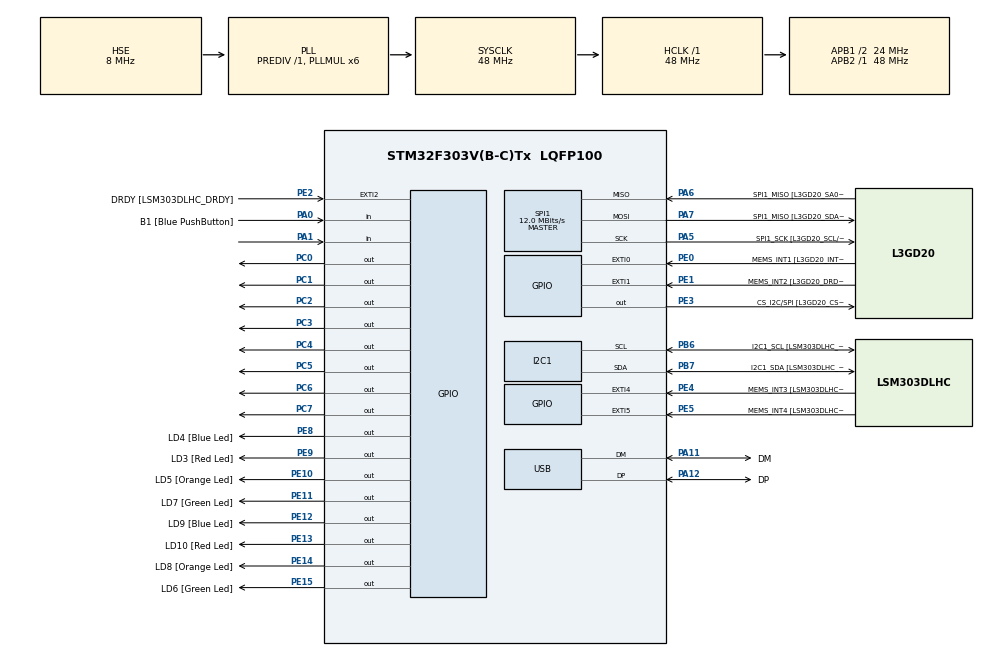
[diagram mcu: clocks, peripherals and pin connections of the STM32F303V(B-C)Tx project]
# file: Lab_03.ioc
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I2C1.Timing=0x2000090E
I2C1.Timing-I2C=0x2000090E
Mcu.Family=STM32F3
Mcu.Name=STM32F303V(B-C)Tx
Mcu.Package=LQFP100
NVIC.PriorityGroup=NVIC_PRIORITYGROUP_0
PA0.GPIO_Label=B1 [Blue PushButton]
PA0.Signal=GPIO_Input
PA1.GPIO_PuPd=GPIO_PULLDOWN
PA1.Signal=GPIO_Input
PA11.GPIO_Label=DM
PA11.Mode=Device
PA11.Signal=USB_DM
PA12.GPIO_Label=DP
PA12.Mode=Device
PA12.Signal=USB_DP
PA13.GPIO_Label=SWDIO
PA13.Mode=Serial_Wire
PA13.Signal=SYS_JTMS-SWDIO
PA14.GPIO_Label=SWCLK
PA14.Mode=Serial_Wire
PA14.Signal=SYS_JTCK-SWCLK
PA5.GPIO_Label=SPI1_SCK [L3GD20_SCL/SPC]
PA5.Mode=Full_Duplex_Master
PA5.Signal=SPI1_SCK
PA6.GPIO_Label=SPI1_MISO [L3GD20_SA0/SDO]
PA6.Mode=Full_Duplex_Master
PA6.Signal=SPI1_MISO
PA7.GPIO_Label=SPI1_MISO [L3GD20_SDA/SDI/SDO]
PA7.Mode=Full_Duplex_Master
PA7.Signal=SPI1_MOSI
PB3.GPIO_Label=SWO
PB3.Signal=SYS_JTDO-TRACESWO
PB6.GPIO_Label=I2C1_SCL [LSM303DLHC_SCL]
PB6.GPIO_Pu=GPIO_PULLUP
PB6.Mode=I2C
PB6.Signal=I2C1_SCL
PB7.GPIO_Label=I2C1_SDA [LSM303DLHC_SDA]
PB7.GPIO_Pu=GPIO_PULLUP
PB7.Mode=I2C
PB7.Signal=I2C1_SDA
PC0.Signal=GPIO_Output
PC1.Signal=GPIO_Output
PC14-OSC32_IN.GPIO_Label=OSC32_IN
PC14-OSC32_IN.Signal=RCC_OSC32_IN
PC15-OSC32_OUT.GPIO_Label=OSC32_OUT
PC15-OSC32_OUT.Signal=RCC_OSC32_OUT
PC2.Signal=GPIO_Output
PC3.Signal=GPIO_Output
PC4.Signal=GPIO_Output
PC5.Signal=GPIO_Output
PC6.Signal=GPIO_Output
PC7.Signal=GPIO_Output
PE0.GPIO_Label=MEMS_INT1 [L3GD20_INT1]
PE0.GPIO_ModeDefaultEXTI=GPIO_MODE_EVT_RISING
PE0.Signal=GPXTI0
PE1.GPIO_Label=MEMS_INT2 [L3GD20_DRDY/INT2]
PE1.GPIO_ModeDefaultEXTI=GPIO_MODE_EVT_RISING
PE1.Signal=GPXTI1
PE10.GPIO_Label=LD5 [Orange Led]
PE10.Signal=GPIO_Output
PE11.GPIO_Label=LD7 [Green Led]
PE11.Signal=GPIO_Output
PE12.GPIO_Label=LD9 [Blue Led]
PE12.Signal=GPIO_Output
PE13.GPIO_Label=LD10 [Red Led]
PE13.Signal=GPIO_Output
PE14.GPIO_Label=LD8 [Orange Led]
PE14.Signal=GPIO_Output
PE15.GPIO_Label=LD6 [Green Led]
PE15.Signal=GPIO_Output
PE2.GPIO_Label=DRDY [LSM303DLHC_DRDY]
PE2.GPIO_ModeDefaultEXTI=GPIO_MODE_EVT_RISING
PE2.Signal=GPXTI2
PE3.GPIO_Label=CS_I2C/SPI [L3GD20_CS_I2C/SPI]
PE3.Signal=GPIO_Output
PE4.GPIO_Label=MEMS_INT3 [LSM303DLHC_INT1]
PE4.GPIO_ModeDefaultEXTI=GPIO_MODE_EVT_RISING
PE4.Signal=GPXTI4
PE5.GPIO_Label=MEMS_INT4 [LSM303DLHC_INT2]
PE5.GPIO_ModeDefaultEXTI=GPIO_MODE_EVT_RISING
PE5.Signal=GPXTI5
PE8.GPIO_Label=LD4 [Blue Led]
PE8.Signal=GPIO_Output
PE9.GPIO_Label=LD3 [Red Led]
PE9.Signal=GPIO_Output
PF0-OSC_IN.GPIO_Label=OSC_IN
PF0-OSC_IN.Mode=HSE-External-Clock-Source
PF0-OSC_IN.Signal=RCC_OSC_IN
PF1-OSC_OUT.GPIO_Label=OSC_OUT
PF1-OSC_OUT.Signal=RCC_OSC_OUT
ProjectManager.HeapSize=0x200
ProjectManager.StackSize=0x400
ProjectManager.TargetToolchain=CMake
RCC.AHBFreq_Value=48000000
RCC.APB1CLKDivider=RCC_HCLK_DIV2
RCC.APB1Freq_Value=24000000
RCC.APB1TimFreq_Value=48000000
RCC.APB2Freq_Value=48000000
RCC.APB2TimFreq_Value=48000000
RCC.CortexFreq_Value=48000000
RCC.HCLKFreq_Value=48000000
RCC.HSE_VALUE=8000000
RCC.HSI_VALUE=8000000
RCC.LSE_VALUE=32768
RCC.PLLMUL=RCC_PLL_MUL6
RCC.SYSCLKFreq_VALUE=48000000
RCC.SYSCLKSourceVirtual=RCC_SYSCLKSOURCE_PLLCLK
RCC.USBFreq_Value=48000000
SPI1.BaudRatePrescaler=SPI_BAUDRATEPRESCALER_4
SPI1.BaudRatePrescaler-Full_Duplex_Master=SPI_BAUDRATEPRESCALER_2
SPI1.CalculateBaudRate=12.0 MBits/s
SPI1.CalculateBaudRate-Full_Duplex_Master=24.0 MBits/s
SPI1.Direction=SPI_DIRECTION_2LINES
SPI1.Mode=SPI_MODE_MASTER
SPI1.Mode-Full_Duplex_Master=SPI_MODE_MASTER
SPI1.VirtualType=VM_MASTER
board=STM32F3DISCOVERY

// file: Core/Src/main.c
/* USER CODE BEGIN Header */
/**
  ******************************************************************************
  * @file           : main.c
  * @brief          : Main program body
  ******************************************************************************
  * @attention
  *
  * Copyright (c) 2026 STMicroelectronics.
  * All rights reserved.
  *
  * This software is licensed under terms that can be found in the LICENSE file
  * in the root directory of this software component.
  * If no LICENSE file comes with this software, it is provided AS-IS.
  *
  ******************************************************************************
  */
/* USER CODE END Header */
#include "main.h"
#include "stdlib.h"

I2C_HandleTypeDef hi2c1;

SPI_HandleTypeDef hspi1;

PCD_HandleTypeDef hpcd_USB_FS;

/* USER CODE BEGIN PV */
/* USER CODE BEGIN PV */
// Common Anode lookup table for digits 0-9 (0 = ON, 1 = OFF)
// Bit order: 0b0GFEDCBA
/* USER CODE BEGIN PV */
const uint8_t hex_patterns[16] = {
    0x40, // 0: A B C D E F
    0x79, // 1: B C
    0x24, // 2: A B D E G
    0x30, // 3: A B C D G
    0x19, // 4: B C F G
    0x12, // 5: A C D F G
    0x02, // 6: A C D E F G
    0x78, // 7: A B C
    0x00, // 8: All ON
    0x10, // 9: A B C D F G
    0x08, // A: A B C E F G
    0x03, // b: C D E F G
    0x46, // C: A D E F
    0x21, // d: B C D E G
    0x06, // E: A D E F G
    0x0E  // F: A E F G (index 15)
};
// const uint8_t student_id[5] = {1, 0, 3, 4, 1};
/* USER CODE END PV */

void SystemClock_Config(void);
static void MX_GPIO_Init(void);
static void MX_I2C1_Init(void);
static void MX_SPI1_Init(void);
static void MX_USB_PCD_Init(void);

/* USER CODE BEGIN 0 */
/* USER CODE BEGIN 0 */
/* USER CODE BEGIN 0 */
void display_pattern(uint8_t pattern) {
    // Segments: A->PC0, B->PC1, C->PC2, D->PC3, E->PC4, F->PC7, G->PC6
    HAL_GPIO_WritePin(GPIOC, GPIO_PIN_0, (pattern & (1 << 0)) ? GPIO_PIN_SET : GPIO_PIN_RESET); // A
    HAL_GPIO_WritePin(GPIOC, GPIO_PIN_1, (pattern & (1 << 1)) ? GPIO_PIN_SET : GPIO_PIN_RESET); // B
    HAL_GPIO_WritePin(GPIOC, GPIO_PIN_2, (pattern & (1 << 2)) ? GPIO_PIN_SET : GPIO_PIN_RESET); // C
    HAL_GPIO_WritePin(GPIOC, GPIO_PIN_3, (pattern & (1 << 3)) ? GPIO_PIN_SET : GPIO_PIN_RESET); // D
    HAL_GPIO_WritePin(GPIOC, GPIO_PIN_4, (pattern & (1 << 4)) ? GPIO_PIN_SET : GPIO_PIN_RESET); // E
    HAL_GPIO_WritePin(GPIOC, GPIO_PIN_7, (pattern & (1 << 5)) ? GPIO_PIN_SET : GPIO_PIN_RESET); // F (Now on PC7)
    HAL_GPIO_WritePin(GPIOC, GPIO_PIN_6, (pattern & (1 << 6)) ? GPIO_PIN_SET : GPIO_PIN_RESET); // G
}
/* USER CODE END 0 */
/* USER CODE END 0 */

int main(void)
{

  /* MCU Configuration--------------------------------------------------------*/

  /* Reset of all peripherals, Initializes the Flash interface and the Systick. */
  HAL_Init();
  HAL_GPIO_WritePin(GPIOC, GPIO_PIN_5, GPIO_PIN_SET);

  /* Configure the system clock */
  SystemClock_Config();

  /* Initialize all configured peripherals */
  MX_GPIO_Init();
  MX_I2C1_Init();
  MX_SPI1_Init();
  MX_USB_PCD_Init();

  /* Infinite loop */
  /* USER CODE BEGIN WHILE */
  /* USER CODE BEGIN WHILE */
  // Task 1: Auto cycle 0 to F
  const uint8_t hex_patterns[16] = {
      0x40, 0x79, 0x24, 0x30, 0x19, 0x12, 0x02, 0x78,
      0x00, 0x10, 0x08, 0x03, 0x46, 0x21, 0x06, 0x0E
  };
  // uint8_t current_index = 0;

  // display_pattern(hex_patterns[student_id[current_index]]);

  // int8_t counter = 0; // Use a signed integer to easily handle underflow

  // Display initial counter value (0)
  // display_pattern(hex_patterns[counter]);
  display_pattern(hex_patterns[0]);

  /* USER CODE BEGIN WHILE */
  while (1)
  {

    /* USER CODE END WHILE */

    /* USER CODE BEGIN 3 */
    // for (int i = 0; i < 16; i++) // Must be i < 16 so index 15 (F) executes
    // {
    //     display_pattern(hex_patterns[i]);
    //     HAL_Delay(1000);
    // }

    //TASK 2:

    // if (HAL_GPIO_ReadPin(GPIOA, GPIO_PIN_0) == GPIO_PIN_SET)
    // {
    //     HAL_Delay(50); // 50ms delay for debouncing

    //     // Confirm the button is still pressed after the delay
    //     if (HAL_GPIO_ReadPin(GPIOA, GPIO_PIN_0) == GPIO_PIN_SET)
    //     {
    //         // Increment index and wrap around back to 0 after the 5th digit
    //         current_index = (current_index + 1) % 5;

    //         // Output the new digit
    //         display_pattern(hex_patterns[student_id[current_index]]);

    //         // Trap the CPU in a loop until the button is released
    //         while (HAL_GPIO_ReadPin(GPIOA, GPIO_PIN_0) == GPIO_PIN_SET);

    //         HAL_Delay(50); // Debounce the release
    //     }
    // }

    //TASK 3:
  //   if (HAL_GPIO_ReadPin(GPIOA, GPIO_PIN_0) == GPIO_PIN_SET)
  //   {
  //       HAL_Delay(50);

  //       if (HAL_GPIO_ReadPin(GPIOA, GPIO_PIN_0) == GPIO_PIN_SET)
  //       {

  //           counter = (counter + 1) % 16;
  //           display_pattern(hex_patterns[counter]);

  //           while (HAL_GPIO_ReadPin(GPIOA, GPIO_PIN_0) == GPIO_PIN_SET);
  //           HAL_Delay(50);
  //       }
  //   }

  //   // ==========================================
  //   // DECREMENT: External Push Button (PA1)
  //   // ==========================================
  //   if (HAL_GPIO_ReadPin(GPIOA, GPIO_PIN_1) == GPIO_PIN_SET)
  //   {
  //       HAL_Delay(50); // Debounce delay

  //       if (HAL_GPIO_ReadPin(GPIOA, GPIO_PIN_1) == GPIO_PIN_SET)
  //       {
  //           // Decrement and wrap around to 15 (F) if it drops below 0
  //           if (counter == 0) {
  //               counter = 15;
  //           } else {
  //               counter--;
  //           }
  //           display_pattern(hex_patterns[counter]);

  //           // Wait for button release
  //           while (HAL_GPIO_ReadPin(GPIOA, GPIO_PIN_1) == GPIO_PIN_SET);
  //           HAL_Delay(50);
  //       }
  //   }

  // }

  // TASK 4:
  if (HAL_GPIO_ReadPin(GPIOA, GPIO_PIN_0) == GPIO_PIN_SET)
    {
        HAL_Delay(50);

        if (HAL_GPIO_ReadPin(GPIOA, GPIO_PIN_0) == GPIO_PIN_SET)
        {
            uint8_t random = (rand() % 6)+1;

            display_pattern(hex_patterns[random]);

            while (HAL_GPIO_ReadPin(GPIOA, GPIO_PIN_0) == GPIO_PIN_SET);

            HAL_Delay(50);
        }
  /* USER CODE END 3 */
      }
}
}
void SystemClock_Config(void)
{
  RCC_OscInitTypeDef RCC_OscInitStruct = {0};
  RCC_ClkInitTypeDef RCC_ClkInitStruct = {0};
  RCC_PeriphCLKInitTypeDef PeriphClkInit = {0};

  /** Initializes the RCC Oscillators according to the specified parameters
  * in the RCC_OscInitTypeDef structure.
  */
  RCC_OscInitStruct.OscillatorType = RCC_OSCILLATORTYPE_HSI|RCC_OSCILLATORTYPE_HSE;
  RCC_OscInitStruct.HSEState = RCC_HSE_BYPASS;
  RCC_OscInitStruct.HSEPredivValue = RCC_HSE_PREDIV_DIV1;
  RCC_OscInitStruct.HSIState = RCC_HSI_ON;
  RCC_OscInitStruct.HSICalibrationValue = RCC_HSICALIBRATION_DEFAULT;
  RCC_OscInitStruct.PLL.PLLState = RCC_PLL_ON;
  RCC_OscInitStruct.PLL.PLLSource = RCC_PLLSOURCE_HSE;
  RCC_OscInitStruct.PLL.PLLMUL = RCC_PLL_MUL6;
  if (HAL_RCC_OscConfig(&RCC_OscInitStruct) != HAL_OK)
  {
    Error_Handler();
  }

  /** Initializes the CPU, AHB and APB buses clocks
  */
  RCC_ClkInitStruct.ClockType = RCC_CLOCKTYPE_HCLK|RCC_CLOCKTYPE_SYSCLK
                              |RCC_CLOCKTYPE_PCLK1|RCC_CLOCKTYPE_PCLK2;
  RCC_ClkInitStruct.SYSCLKSource = RCC_SYSCLKSOURCE_PLLCLK;
  RCC_ClkInitStruct.AHBCLKDivider = RCC_SYSCLK_DIV1;
  RCC_ClkInitStruct.APB1CLKDivider = RCC_HCLK_DIV2;
  RCC_ClkInitStruct.APB2CLKDivider = RCC_HCLK_DIV1;

  if (HAL_RCC_ClockConfig(&RCC_ClkInitStruct, FLASH_LATENCY_1) != HAL_OK)
  {
    Error_Handler();
  }
  PeriphClkInit.PeriphClockSelection = RCC_PERIPHCLK_USB|RCC_PERIPHCLK_I2C1;
  PeriphClkInit.I2c1ClockSelection = RCC_I2C1CLKSOURCE_HSI;
  PeriphClkInit.USBClockSelection = RCC_USBCLKSOURCE_PLL;
  if (HAL_RCCEx_PeriphCLKConfig(&PeriphClkInit) != HAL_OK)
  {
    Error_Handler();
  }
}

static void MX_I2C1_Init(void)
{

  hi2c1.Instance = I2C1;
  hi2c1.Init.Timing = 0x2000090E;
  hi2c1.Init.OwnAddress1 = 0;
  hi2c1.Init.AddressingMode = I2C_ADDRESSINGMODE_7BIT;
  hi2c1.Init.DualAddressMode = I2C_DUALADDRESS_DISABLE;
  hi2c1.Init.OwnAddress2 = 0;
  hi2c1.Init.OwnAddress2Masks = I2C_OA2_NOMASK;
  hi2c1.Init.GeneralCallMode = I2C_GENERALCALL_DISABLE;
  hi2c1.Init.NoStretchMode = I2C_NOSTRETCH_DISABLE;
  if (HAL_I2C_Init(&hi2c1) != HAL_OK)
  {
    Error_Handler();
  }

  /** Configure Analogue filter
  */
  if (HAL_I2CEx_ConfigAnalogFilter(&hi2c1, I2C_ANALOGFILTER_ENABLE) != HAL_OK)
  {
    Error_Handler();
  }

  /** Configure Digital filter
  */
  if (HAL_I2CEx_ConfigDigitalFilter(&hi2c1, 0) != HAL_OK)
  {
    Error_Handler();
  }

}

static void MX_SPI1_Init(void)
{

  /* SPI1 parameter configuration*/
  hspi1.Instance = SPI1;
  hspi1.Init.Mode = SPI_MODE_MASTER;
  hspi1.Init.Direction = SPI_DIRECTION_2LINES;
  hspi1.Init.DataSize = SPI_DATASIZE_4BIT;
  hspi1.Init.CLKPolarity = SPI_POLARITY_LOW;
  hspi1.Init.CLKPhase = SPI_PHASE_1EDGE;
  hspi1.Init.NSS = SPI_NSS_SOFT;
  hspi1.Init.BaudRatePrescaler = SPI_BAUDRATEPRESCALER_4;
  hspi1.Init.FirstBit = SPI_FIRSTBIT_MSB;
  hspi1.Init.TIMode = SPI_TIMODE_DISABLE;
  hspi1.Init.CRCCalculation = SPI_CRCCALCULATION_DISABLE;
  hspi1.Init.CRCPolynomial = 7;
  hspi1.Init.CRCLength = SPI_CRC_LENGTH_DATASIZE;
  hspi1.Init.NSSPMode = SPI_NSS_PULSE_ENABLE;
  if (HAL_SPI_Init(&hspi1) != HAL_OK)
  {
    Error_Handler();
  }

}

static void MX_USB_PCD_Init(void)
{

  hpcd_USB_FS.Instance = USB;
  hpcd_USB_FS.Init.dev_endpoints = 8;
  hpcd_USB_FS.Init.speed = PCD_SPEED_FULL;
  hpcd_USB_FS.Init.phy_itface = PCD_PHY_EMBEDDED;
  hpcd_USB_FS.Init.low_power_enable = DISABLE;
  hpcd_USB_FS.Init.battery_charging_enable = DISABLE;
  if (HAL_PCD_Init(&hpcd_USB_FS) != HAL_OK)
  {
    Error_Handler();
  }

}

static void MX_GPIO_Init(void)
{
  GPIO_InitTypeDef GPIO_InitStruct = {0};

  /* GPIO Ports Clock Enable */
  __HAL_RCC_GPIOE_CLK_ENABLE();
  __HAL_RCC_GPIOC_CLK_ENABLE();
  __HAL_RCC_GPIOF_CLK_ENABLE();
  __HAL_RCC_GPIOA_CLK_ENABLE();
  __HAL_RCC_GPIOB_CLK_ENABLE();

  /*Configure GPIO pin Output Level */
  HAL_GPIO_WritePin(GPIOE, CS_I2C_SPI_Pin|LD4_Pin|LD3_Pin|LD5_Pin
                          |LD7_Pin|LD9_Pin|LD10_Pin|LD8_Pin
                          |LD6_Pin, GPIO_PIN_RESET);

  /*Configure GPIO pin Output Level */
  HAL_GPIO_WritePin(GPIOC, GPIO_PIN_0|GPIO_PIN_1|GPIO_PIN_2|GPIO_PIN_3
                          |GPIO_PIN_4|GPIO_PIN_5|GPIO_PIN_6|GPIO_PIN_7, GPIO_PIN_RESET);

  /*Configure GPIO pins : DRDY_Pin MEMS_INT3_Pin MEMS_INT4_Pin MEMS_INT1_Pin
                           MEMS_INT2_Pin */
  GPIO_InitStruct.Pin = DRDY_Pin|MEMS_INT3_Pin|MEMS_INT4_Pin|MEMS_INT1_Pin
                          |MEMS_INT2_Pin;
  GPIO_InitStruct.Mode = GPIO_MODE_EVT_RISING;
  GPIO_InitStruct.Pull = GPIO_NOPULL;
  HAL_GPIO_Init(GPIOE, &GPIO_InitStruct);

  /*Configure GPIO pins : CS_I2C_SPI_Pin LD4_Pin LD3_Pin LD5_Pin
                           LD7_Pin LD9_Pin LD10_Pin LD8_Pin
                           LD6_Pin */
  GPIO_InitStruct.Pin = CS_I2C_SPI_Pin|LD4_Pin|LD3_Pin|LD5_Pin
                          |LD7_Pin|LD9_Pin|LD10_Pin|LD8_Pin
                          |LD6_Pin;
  GPIO_InitStruct.Mode = GPIO_MODE_OUTPUT_PP;
  GPIO_InitStruct.Pull = GPIO_NOPULL;
  GPIO_InitStruct.Speed = GPIO_SPEED_FREQ_LOW;
  HAL_GPIO_Init(GPIOE, &GPIO_InitStruct);

  /*Configure GPIO pins : PC0 PC1 PC2 PC3
                           PC4 PC5 PC6 PC7 */
  GPIO_InitStruct.Pin = GPIO_PIN_0|GPIO_PIN_1|GPIO_PIN_2|GPIO_PIN_3
                          |GPIO_PIN_4|GPIO_PIN_5|GPIO_PIN_6|GPIO_PIN_7;
  GPIO_InitStruct.Mode = GPIO_MODE_OUTPUT_PP;
  GPIO_InitStruct.Pull = GPIO_NOPULL;
  GPIO_InitStruct.Speed = GPIO_SPEED_FREQ_LOW;
  HAL_GPIO_Init(GPIOC, &GPIO_InitStruct);

  /*Configure GPIO pin : B1_Pin */
  GPIO_InitStruct.Pin = B1_Pin;
  GPIO_InitStruct.Mode = GPIO_MODE_INPUT;
  GPIO_InitStruct.Pull = GPIO_NOPULL;
  HAL_GPIO_Init(B1_GPIO_Port, &GPIO_InitStruct);

  /*Configure GPIO pin : PA1 */
  GPIO_InitStruct.Pin = GPIO_PIN_1;
  GPIO_InitStruct.Mode = GPIO_MODE_INPUT;
  GPIO_InitStruct.Pull = GPIO_PULLDOWN;
  HAL_GPIO_Init(GPIOA, &GPIO_InitStruct);

}

void Error_Handler(void)
{
  __disable_irq();
  while (1)
  {
  }
}
